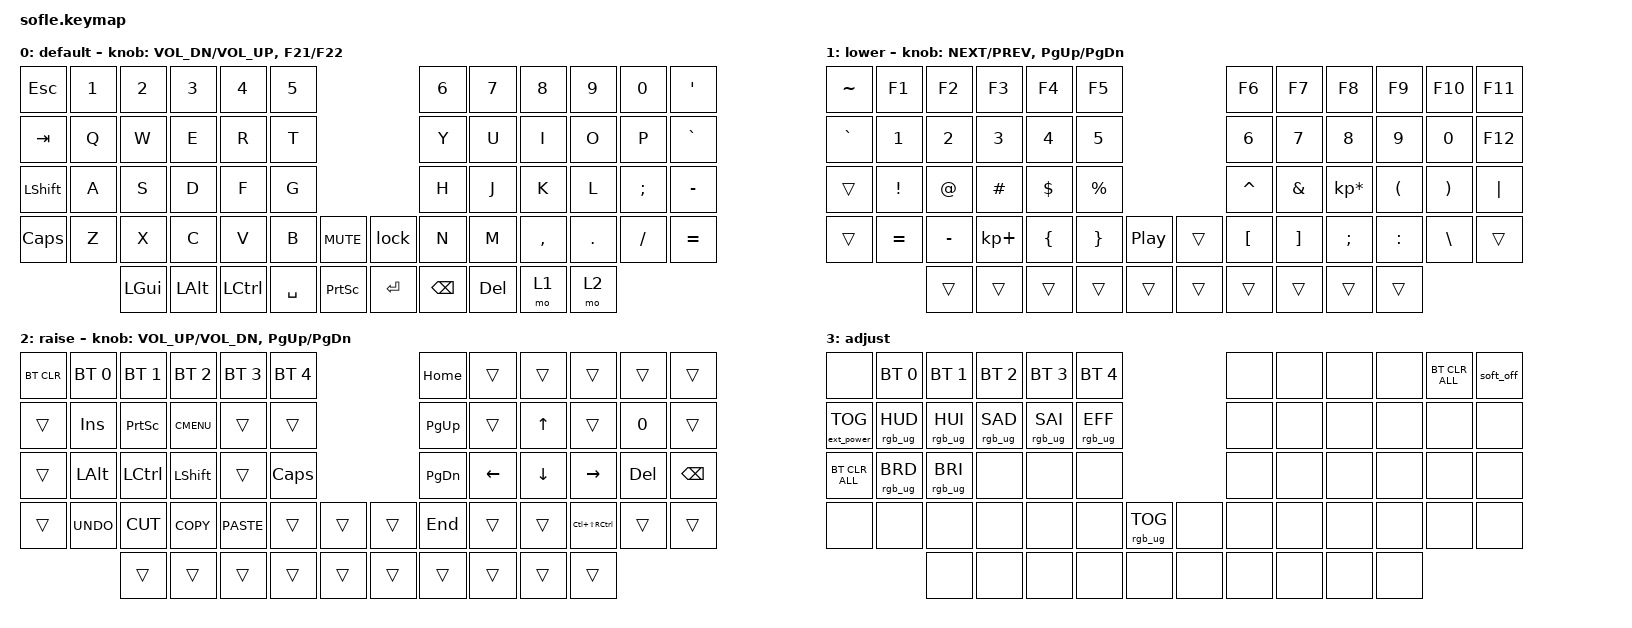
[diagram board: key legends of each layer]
/*
 * Copyright (c) 2020 The ZMK Contributors
 *
 * SPDX-License-Identifier: MIT
 */

#include <behaviors.dtsi>
#include <dt-bindings/zmk/bt.h>
#include <dt-bindings/zmk/ext_power.h>
#include <dt-bindings/zmk/keys.h>
#include <dt-bindings/zmk/rgb.h>

#define BASE 0
#define LOWER 1
#define RAISE 2
#define ADJUST 3

/ {
    // Activate ADJUST layer by pressing raise and lower

    conditional_layers {
        compatible = "zmk,conditional-layers";

        adjust_layer {
            if-layers = <LOWER RAISE>;
            then-layer = <ADJUST>;
        };
    };

    macros {
        lock: new_macro {
            compatible = "zmk,behavior-macro";
            #binding-cells = <0>;
            bindings = <&kp LEFT_WIN &kp L>;
            label = "NEW_MACRO";
        };
    };

    keymap {
        compatible = "zmk,keymap";

        default_layer {
            label = "default";

            // ------------------------------------------------------------------------------------------------------------
            // |   `   |  1  |  2  |  3   |  4   |  5   |                   |  6   |  7    |  8    |  9   |   0   |       |
            // |  ESC  |  Q  |  W  |  E   |  R   |  T   |                   |  Y   |  U    |  I    |  O   |   P   | BKSPC |
            // |  TAB  |  A  |  S  |  D   |  F   |  G   |                   |  H   |  J    |  K    |  L   |   ;   |   '   |
            // | SHIFT |  Z  |  X  |  C   |  V   |  B   |  MUTE  |  |       |  N   |  M    |  ,    |  .   |   /   | SHIFT |
            //               | GUI | ALT  | CTRL | LOWER|  ENTER |  | SPACE | RAISE| CTRL  | ALT   | GUI  |

            bindings = <
&kp ESC         &kp NUMBER_1  &kp NUMBER_2  &kp N3    &kp N4     &kp N5                                   &kp N6         &kp N7   &kp N8     &kp N9   &kp N0    &kp SINGLE_QUOTE
&kp TAB         &kp Q         &kp W         &kp E     &kp R      &kp T                                    &kp Y          &kp U    &kp I      &kp O    &kp P     &kp GRAVE
&kp LEFT_SHIFT  &kp A         &kp S         &kp D     &kp F      &kp G                                    &kp H          &kp J    &kp K      &kp L    &kp SEMI  &kp MINUS
&kp CAPS        &kp Z         &kp X         &kp C     &kp V      &kp B      &kp C_MUTE         &lock      &kp N          &kp M    &kp COMMA  &kp DOT  &kp FSLH  &kp EQUAL
                              &kp LGUI      &kp LALT  &kp LCTRL  &kp SPACE  &kp PRINTSCREEN    &kp ENTER  &kp BACKSPACE  &kp DEL  &mo 1      &mo 2
            >;

            sensor-bindings =
                <&inc_dec_kp C_VOL_DN C_VOL_UP>,
                <&inc_dec_kp F21 F22>;
        };

        lower_layer {
            label = "lower";

            // TODO: Some binds are waiting for shifted keycode support.
            // ------------------------------------------------------------------------------------------------------------
            // |       |  F1 |  F2 |  F3  |  F4  |  F5  |                   |  F6  |  F7   |  F8   |  F9  |  F10  |  F11  |
            // |   `   |  1  |  2  |  3   |  4   |  5   |                   |  6   |  7    |  8    |  9   |   0   |  F12  |
            // |       |  !  |  @  |  #   |  $   |  %   |                   |  ^   |  &    |  *    |  (   |   )   |   |   |
            // |       |  =  |  -  |  +   |  {   |  }   |        |  |       |  [   |  ]    |  ;    |  :   |   \   |       |
            //               |     |      |      |      |        |  |       |      |       |       |      |

            bindings = <
&kp TILDE  &kp F1     &kp F2     &kp F3       &kp F4    &kp F5                                 &kp F6     &kp F7    &kp F8           &kp F9     &kp F10   &kp F11
&kp GRAVE  &kp N1     &kp N2     &kp N3       &kp N4    &kp N5                                 &kp N6     &kp N7    &kp N8           &kp N9     &kp N0    &kp F12
&trans     &kp EXCL   &kp AT     &kp HASH     &kp DLLR  &kp PRCNT                              &kp CARET  &kp AMPS  &kp KP_MULTIPLY  &kp LPAR   &kp RPAR  &kp PIPE
&trans     &kp EQUAL  &kp MINUS  &kp KP_PLUS  &kp LBRC  &kp RBRC   &kp C_PLAY_PAUSE    &trans  &kp LBKT   &kp RBKT  &kp SEMI         &kp COLON  &kp BSLH  &trans
                      &trans     &trans       &trans    &trans     &trans              &trans  &trans     &trans    &trans           &trans
            >;

            sensor-bindings =
                <&inc_dec_kp C_NEXT C_PREV>,
                <&inc_dec_kp PG_UP PG_DN>;
        };

        raise_layer {
            label = "raise";

            // ------------------------------------------------------------------------------------------------------------
            // | BTCLR | BT1  | BT2  |  BT3  |  BT4  |  BT5 |                |      |      |       |      |       |       |
            // |       | INS  | PSCR | GUI   |       |      |                | PGUP |      |   ^   |      |       |       |
            // |       | ALT  | CTRL | SHIFT |       | CAPS |                | PGDN |   <- |   v   |  ->  |  DEL  | BKSPC |
            // |       | UNDO | CUT  | COPY  | PASTE |      |      |  |      |      |      |       |      |       |       |
            //                |      |       |       |      |      |  |      |      |      |       |      |

            bindings = <
&bt BT_CLR  &bt BT_SEL 0  &bt BT_SEL 1  &bt BT_SEL 2  &bt BT_SEL 3  &bt BT_SEL 4                    &kp HOME   &trans    &trans    &trans                     &trans   &trans
&trans      &kp INS       &kp PSCRN     &kp K_CMENU   &trans        &trans                          &kp PG_UP  &trans    &kp UP    &trans                     &kp N0   &trans
&trans      &kp LALT      &kp LCTRL     &kp LSHFT     &trans        &kp CLCK                        &kp PG_DN  &kp LEFT  &kp DOWN  &kp RIGHT                  &kp DEL  &kp BSPC
&trans      &kp K_UNDO    &kp K_CUT     &kp K_COPY    &kp K_PASTE   &trans        &trans    &trans  &kp END    &trans    &trans    &kp LC(LS(RIGHT_CONTROL))  &trans   &trans
                          &trans        &trans        &trans        &trans        &trans    &trans  &trans     &trans    &trans    &trans
            >;

            sensor-bindings = <&inc_dec_kp C_VOL_UP C_VOL_DN &inc_dec_kp PG_UP PG_DN>;
        };

        adjust_layer {
            // ----------------------------------------------------------------------------------------------------------------------------
            // | BTCLR  |  BT1    |  BT2    |   BT3   |   BT4   |   BT5   |                  |      |      |       |      |       |       |
            // | EXTPWR | RGB_HUD | RGB_HUI | RGB_SAD | RGB_SAI | RGB_EFF |                  |      |      |       |      |       |       |
            // |        | RGB_BRD | RGB_BRI |         |         |         |                  |      |      |       |      |       |       |
            // |        |         |         |         |         |         | RGB_TOG | |      |      |      |       |      |       |       |
            //                    |         |         |         |         |         | |      |      |      |       |      |

            label = "adjust";
            bindings = <
&none              &bt BT_SEL 0     &bt BT_SEL 1     &bt BT_SEL 2     &bt BT_SEL 3     &bt BT_SEL 4                               &none  &none  &none  &none  &bt BT_CLR_ALL  &soft_off
&ext_power EP_TOG  &rgb_ug RGB_HUD  &rgb_ug RGB_HUI  &rgb_ug RGB_SAD  &rgb_ug RGB_SAI  &rgb_ug RGB_EFF                            &none  &none  &none  &none  &none           &none
&bt BT_CLR_ALL     &rgb_ug RGB_BRD  &rgb_ug RGB_BRI  &none            &none            &none                                      &none  &none  &none  &none  &none           &none
&none              &none            &none            &none            &none            &none            &rgb_ug RGB_TOG    &none  &none  &none  &none  &none  &none           &none
                                    &none            &none            &none            &none            &none              &none  &none  &none  &none  &none
            >;
        };
    };
};

